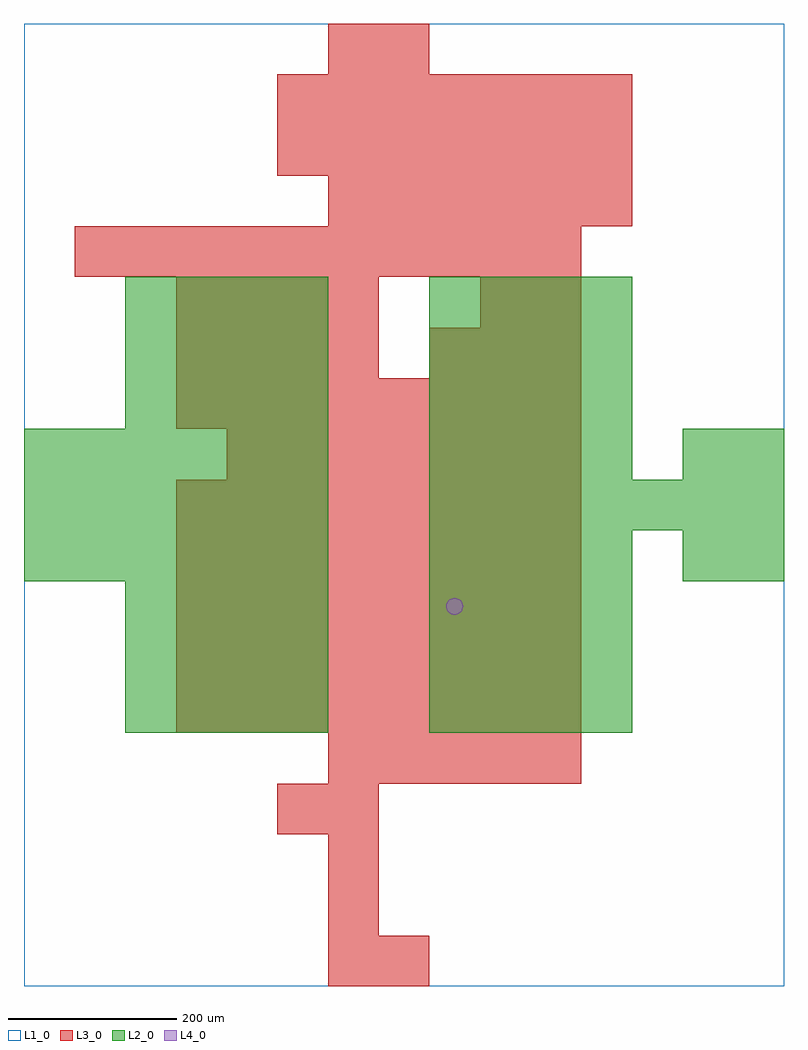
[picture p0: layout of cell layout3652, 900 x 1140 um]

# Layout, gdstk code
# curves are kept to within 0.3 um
import gdstk
lib = gdstk.Library(unit=1e-6, precision=1e-09)
def R(c, l, rs):  # rectangles x0, y0, x1, y1
    for r in rs: c.add(gdstk.rectangle(r[:2], r[2:], *l))
def A(c, l, x, y, w, h, nx, ny, dx, dy):  # array of equal rectangles
    R(c, l, [(x+i*dx, y+j*dy, x+i*dx+w, y+j*dy+h) for i in range(nx) for j in range(ny)])
def P(c, l, *ps):  # polygons
    for p in ps: c.add(gdstk.Polygon(p, *l))
L1_0 = (1, 0)
L2_0 = (2, 0)
L3_0 = (3, 0)
L4_0 = (4, 0)

layout3652 = lib.new_cell('layout3652')
R(layout3652, L1_0, [(0,0,900,1140)])
A(layout3652, L2_0, 120, 300, 60, 60, 4, 3, 60, 60)
A(layout3652, L2_0, 480, 300, 60, 60, 4, 4, 60, 60)
A(layout3652, L2_0, 0, 480, 60, 60, 6, 3, 60, 60)
A(layout3652, L2_0, 480, 540, 60, 60, 7, 1, 60, 0)
A(layout3652, L2_0, 480, 600, 60, 60, 4, 4, 60, 60)
A(layout3652, L2_0, 120, 660, 60, 60, 4, 3, 60, 60)
R(layout3652, L2_0, [(780,480,840,540), (840,480,900,540), (780,600,840,660), (840,600,900,660)])
A(layout3652, L3_0, 360, 0, 60, 60, 1, 4, 0, 60)
A(layout3652, L3_0, 360, 240, 60, 60, 5, 1, 60, 0)
A(layout3652, L3_0, 180, 300, 60, 60, 8, 5, 60, 60)
A(layout3652, L3_0, 240, 600, 60, 60, 7, 1, 60, 0)
A(layout3652, L3_0, 180, 660, 60, 60, 8, 1, 60, 0)
A(layout3652, L3_0, 180, 720, 60, 60, 4, 2, 60, 60)
A(layout3652, L3_0, 480, 720, 60, 60, 3, 1, 60, 0)
A(layout3652, L3_0, 60, 840, 60, 60, 10, 1, 60, 0)
A(layout3652, L3_0, 360, 900, 60, 60, 6, 1, 60, 0)
A(layout3652, L3_0, 300, 960, 60, 60, 7, 2, 60, 60)
R(layout3652, L3_0, [(420,0,480,60), (300,180,360,240), (540,780,600,840), (600,780,660,840), (360,1080,420,1140), (420,1080,480,1140)])
P(layout3652, L4_0, [(520,450),(519.239,453.827),(517.071,457.071),(513.827,459.239),(510,460),(506.173,459.239),(502.929,457.071),(500.761,453.827),(500,450),(500.761,446.173),(502.929,442.929),(506.173,440.761),(510,440),(513.827,440.761),(517.071,442.929),(519.239,446.173)])

lib.write_gds('layout3652.gds')
